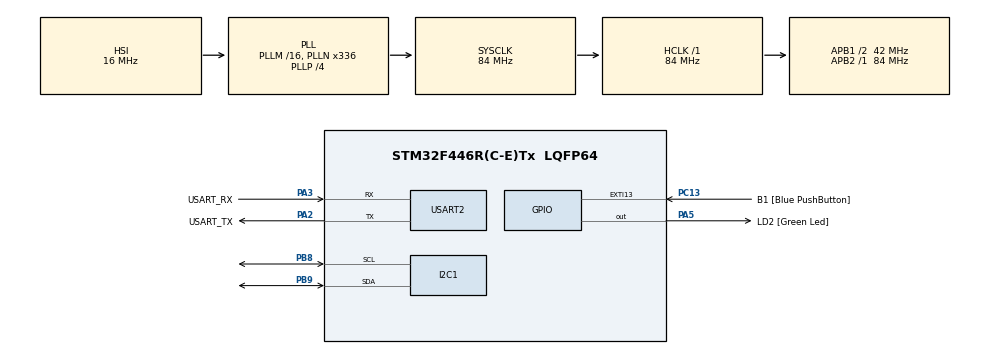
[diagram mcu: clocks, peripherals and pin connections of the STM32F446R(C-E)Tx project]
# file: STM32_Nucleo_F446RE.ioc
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Mcu.Family=STM32F4
Mcu.Name=STM32F446R(C-E)Tx
Mcu.Package=LQFP64
NVIC.PriorityGroup=NVIC_PRIORITYGROUP_0
PA13.GPIO_Label=TMS
PA13.Mode=Serial_Wire
PA13.Signal=SYS_JTMS-SWDIO
PA14.GPIO_Label=TCK
PA14.Mode=Serial_Wire
PA14.Signal=SYS_JTCK-SWCLK
PA2.GPIO_Label=USART_TX
PA2.Mode=Asynchronous
PA2.Signal=USART2_TX
PA3.GPIO_Label=USART_RX
PA3.Mode=Asynchronous
PA3.Signal=USART2_RX
PA5.GPIO_Label=LD2 [Green Led]
PA5.Signal=GPIO_Output
PB3.GPIO_Label=SWO
PB3.Signal=SYS_JTDO-SWO
PB8.Mode=I2C
PB8.Signal=I2C1_SCL
PB9.Mode=I2C
PB9.Signal=I2C1_SDA
PC13.GPIO_Label=B1 [Blue PushButton]
PC13.GPIO_ModeDefaultEXTI=GPIO_MODE_IT_FALLING
PC13.Signal=GPXTI13
PC14-OSC32_IN.Mode=LSE-External-Oscillator
PC14-OSC32_IN.Signal=RCC_OSC32_IN
PC15-OSC32_OUT.Mode=LSE-External-Oscillator
PC15-OSC32_OUT.Signal=RCC_OSC32_OUT
PH0-OSC_IN.Mode=HSE-External-Oscillator
PH0-OSC_IN.Signal=RCC_OSC_IN
PH1-OSC_OUT.Mode=HSE-External-Oscillator
PH1-OSC_OUT.Signal=RCC_OSC_OUT
ProjectManager.HeapSize=0x200
ProjectManager.StackSize=0x400
ProjectManager.TargetToolchain=STM32CubeIDE
RCC.48MHZClocksFreq_Value=84000000
RCC.AHBFreq_Value=84000000
RCC.APB1CLKDivider=RCC_HCLK_DIV2
RCC.APB1Freq_Value=42000000
RCC.APB1TimFreq_Value=84000000
RCC.APB2Freq_Value=84000000
RCC.APB2TimFreq_Value=84000000
RCC.CortexFreq_Value=84000000
RCC.FLatency-AdvancedSettings=FLASH_LATENCY_2
RCC.HCLKFreq_Value=84000000
RCC.HSE_VALUE=8000000
RCC.HSI_VALUE=16000000
RCC.PLLN=336
RCC.PLLP=RCC_PLLP_DIV4
RCC.SYSCLKFreq_VALUE=84000000
RCC.SYSCLKSource=RCC_SYSCLKSOURCE_PLLCLK
RCC.USBFreq_Value=168000000
RCC.VCOOutputFreq_Value=336000000
USART2.VirtualMode=VM_ASYNC
board=NUCLEO-F446RE

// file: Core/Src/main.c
/* USER CODE BEGIN Header */

/******************************************************************************
 * @file    main.c
 * @brief   Main application entry point for the MPU6050 attitude estimator.
 *
 * @details Responsibilities:
 *          - Initialize hardware interfaces
 *          - Calibrate the IMU
 *          - Manage loop timing
 *          - Acquire sensor data
 *          - Execute attitude estimation algorithms
 *          - Output telemetry
 *
 * @author  Sumedh Camarushi
 * @date    June 25, 2026
 * ******************************************************************************
 * @attention
 *
 * Copyright (c) 2026 STMicroelectronics.
 * All rights reserved.
 *
 * This software is licensed under terms that can be found in the LICENSE file
 * in the root directory of this software component.
 * If no LICENSE file comes with this software, it is provided AS-IS.
 ******************************************************************************/

/* USER CODE END Header */

#include "main.h"

/* USER CODE BEGIN Includes */

#include <string.h>
#include <stdio.h>

#include "mpu6050.h"
#include "calibration.h"
#include "attitude.h"

/* USER CODE END Includes */

/* USER CODE BEGIN PD */

// -----------------------------------------------------------------------------
// Timing and filter configuration
// -----------------------------------------------------------------------------

#define MILLISECONDS_PER_SECOND 1000.0f   ///< Number of milliseconds in one second (used for time conversion)
#define LOOP_PERIOD_MS          10U       ///< Loop period in milliseconds (10 ms = 100 Hz)
#define COMPLEMENTARY_ALPHA     0.98f     ///< Complementary filter weighting coefficient (0.98 = 98% gyro, 2% accel)

/* USER CODE END PD */

I2C_HandleTypeDef hi2c1;
UART_HandleTypeDef huart2;

/* USER CODE BEGIN PV */

// -----------------------------------------------------------------------------
// Calibration data
// -----------------------------------------------------------------------------

AccelBias accelBias = {0};     ///< Accelerometer bias values
GyroBias gyroBias   = {0};     ///< Gyroscope bias values

// -----------------------------------------------------------------------------
// Attitude estimates
// -----------------------------------------------------------------------------

Attitude accelAttitude    = {0};     ///< Accelerometer-based attitude estimate
Attitude gyroOnlyAttitude = {0};     ///< Gyroscope-only attitude estimate (for plotting purposes)
Attitude gyroAttitude     = {0};     ///< Corrected attitude estimate used for gyro integration
Attitude filteredAttitude = {0};     ///< Complementary-filtered attitude estimate

// -----------------------------------------------------------------------------
// Loop timing state
// -----------------------------------------------------------------------------

uint32_t lastLoopTime_MS  = 0;       ///< Timestamp of the last loop iteration in milliseconds
uint8_t imuReady          = 0;       ///< IMU initialization state flag

/* USER CODE END PV */

void SystemClock_Config(void);
static void MX_GPIO_Init(void);
static void MX_USART2_UART_Init(void);
static void MX_I2C1_Init(void);

/* USER CODE BEGIN PFP */

// -----------------------------------------------------------------------------
// Helper functions
// -----------------------------------------------------------------------------

/**
 * @brief          Prints one telemetry sample in CSV format.
 *
 * @details        Builds one comma-separated telemetry line and sends it
 *                 over UART.
 *
 *                 Output format:
 *                 time_MS, accel.roll, accel.pitch,
 *                 gyro.roll, gyro.pitch,
 *                 filtered.roll, filtered.pitch
 *
 *                 This format is useful for serial logging, plotting,
 *                 and host-side parsing.
 *
 * @param time_MS  Timestamp in milliseconds.
 * @param accel    Pointer to the accelerometer-only attitude estimate.
 * @param gyro     Pointer to the gyroscope-only attitude estimate.
 * @param filtered Pointer to the complementary-filtered attitude estimate.
 */
void printTelemetryCSV(
  uint32_t time_MS,
  const Attitude *accel,
  const Attitude *gyro,
  const Attitude *filtered);

/**
 * @brief   Performs one-time application initialization.
 *
 * @details Handles sensor startup, calibration, initial attitude estimation,
 *          and loop timing initialization.
 */
void appSetup(void);

/**
 * @brief   Executes one iteration of the main attitude estimation loop.
 *
 * @details Enforces loop timing, reads sensor data, converts measurements,
 *          updates the attitude estimates, and outputs telemetry.
 */
void appLoop(void);

/* USER CODE END PFP */

/* USER CODE BEGIN 0 */

// -----------------------------------------------------------------------------
// Helper functions
// -----------------------------------------------------------------------------

void printTelemetryCSV(
  uint32_t time_MS,
  const Attitude *accel,
  const Attitude *gyro,
  const Attitude *filtered)
{
  // A buffer is temporary memory used to store text before transmission.
  // Here, the buffer holds one complete CSV telemetry line.

  char buffer[128];
  int length = 0;

  // Exit immediately if any input pointer is invalid.

  if ((accel == 0) || (gyro == 0) || (filtered == 0))
  {
    return;
  }

  // snprintf() writes formatted text into the buffer.
  // The format string creates one CSV line ending with \r\n.

  length = snprintf(
    buffer,
    sizeof(buffer),
    "%lu,%.3f,%.3f,%.3f,%.3f,%.3f,%.3f\r\n",
    (unsigned long)time_MS,
    accel->roll,
    accel->pitch,
    gyro->roll,
    gyro->pitch,
    filtered->roll,
    filtered->pitch);

  // Transmit the formatted string only if formatting succeeded.

  if (length > 0)
  {
    uart_print(buffer);
  }
}

void appSetup(void)
{
  // -------------------------------------------------------------------------
  // Hardware initialization
  // -------------------------------------------------------------------------

  // Delay briefly so the sensor can power up before I2C communication begins.

  HAL_Delay(100);

  // -------------------------------------------------------------------------
  // Sensor initialization
  // -------------------------------------------------------------------------

  // Print status messages over UART during startup.

  uart_print("Initializing MPU6050...\r\n");

  // Give the MPU6050 driver access to the configured I2C peripheral.

  MPU6050_SetI2C(&hi2c1);

  // Initialize the sensor and apply its configuration.

  initializeMPU6050();

  // Calibrate the accelerometer while the IMU is stationary.

  uart_print("Calibrating accelerometer...\r\n");
  accelBias = calibrateAccel();

  // Calibrate the gyroscope while the IMU is stationary.

  uart_print("Calibrating gyroscope...\r\n");
  gyroBias = calibrateGyro();

  // -------------------------------------------------------------------------
  // Attitude initialization
  // -------------------------------------------------------------------------

  // Estimate the initial roll and pitch from the calibrated accelerometer.

  if (initializeAttitude(&accelBias, &accelAttitude) != HAL_OK)
  {
    uart_print("Attitude initialization failed.\r\n");
    Error_Handler();
  }

  // Initialize both gyro-based estimates to the same starting attitude.

  gyroOnlyAttitude = accelAttitude;
  gyroAttitude     = accelAttitude;

  // Compute the initial filtered estimate.

  if (complementaryFilter(
    &gyroAttitude,
    &accelAttitude,
    COMPLEMENTARY_ALPHA,
    &filteredAttitude) != HAL_OK)
  {
    uart_print("Complementary filter initialization failed.\r\n");
    Error_Handler();
  }

  uart_print("Calibration complete.\r\n");

  // Store the current tick count for loop timing.

  lastLoopTime_MS = HAL_GetTick();

  // Mark initialization as complete.

  imuReady = 1U;

  uart_print("MPU6050 IMU awake.\r\n\r\n");
}

void appLoop(void)
{
  // -------------------------------------------------------------------------
  // Timing control
  // -------------------------------------------------------------------------

  // Get the current system time in milliseconds.

  uint32_t currentTime_MS = HAL_GetTick();

  // Do nothing until initialization has completed.

  if (imuReady == 0U)
  {
    return;
  }

  // Skip this iteration until the desired loop period has elapsed.

  if (currentTime_MS - lastLoopTime_MS < LOOP_PERIOD_MS)
  {
    return;
  }

  // Convert elapsed time from milliseconds to seconds for gyro integration.

  float dt = (currentTime_MS - lastLoopTime_MS) / MILLISECONDS_PER_SECOND;

  // Save the current timestamp for the next loop iteration.

  lastLoopTime_MS = currentTime_MS;

  // -------------------------------------------------------------------------
  // Sensor acquisition & unit conversion
  // -------------------------------------------------------------------------

  // Store raw sensor readings from the MPU6050.

  AccelData accel = {0};
  GyroData gyro   = {0};

  // Read accelerometer data. Skip this iteration if the read fails.

  if (readRawAccel(&accel) != HAL_OK)
  {
    return;
  }

  // Read gyroscope data. Skip this iteration if the read fails.

  if (readRawGyro(&gyro) != HAL_OK)
  {
    return;
  }

  // Convert raw accelerometer values to g after bias correction.

  float axG = rawAccelToG(accel.x, accelBias.x);
  float ayG = rawAccelToG(accel.y, accelBias.y);
  float azG = rawAccelToG(accel.z, accelBias.z);

  // Convert raw gyroscope values to degrees per second after bias correction.

  float gxDPS = rawGyroToDPS(gyro.x, gyroBias.x);
  float gyDPS = rawGyroToDPS(gyro.y, gyroBias.y);
  float gzDPS = rawGyroToDPS(gyro.z, gyroBias.z);

  // -------------------------------------------------------------------------
  // Attitude estimation
  // -------------------------------------------------------------------------

  // Temporary variables hold the newly updated gyro estimates.

  Attitude updatedGyroOnly  = {0};
  Attitude updatedGyro      = {0};

  // Compute roll and pitch directly from the accelerometer.

  if (calculateAccelAttitude(axG, ayG, azG, &accelAttitude) != HAL_OK)
  {
    return;
  }

  // Update the gyro-only estimate used for comparison and plotting.

  if (updateGyroAttitude(
    &gyroOnlyAttitude,
    gxDPS,
    gyDPS,
    gzDPS,
    dt,
    &updatedGyroOnly) != HAL_OK)
  {
    return;
  }

  // Update the gyro estimate used by the complementary filter.

  if (updateGyroAttitude(
    &gyroAttitude,
    gxDPS,
    gyDPS,
    gzDPS,
    dt,
    &updatedGyro) != HAL_OK)
  {
    return;
  }

  // Save the updated gyro estimates.

  gyroOnlyAttitude = updatedGyroOnly;
  gyroAttitude = updatedGyro;

  // Fuse the gyro and accelerometer estimates.

  if (complementaryFilter(
    &gyroAttitude,
    &accelAttitude,
    COMPLEMENTARY_ALPHA,
    &filteredAttitude) != HAL_OK)
  {
    return;
  }

  // Feed the filtered result back into the gyro estimate to reduce drift.

  gyroAttitude = filteredAttitude;

  // -------------------------------------------------------------------------
  // Telemetry output
  // -------------------------------------------------------------------------

  // Legacy human-readable telemetry format kept here for reference.

  // Multiple telemetry formats are available.
  // Additional debug output can be enabled
  // by uncommenting the sections below.

  // char debugBuffer[96];
  //
  // snprintf(debugBuffer, sizeof(debugBuffer), "AX (g): %.3f AY (g): %.3f AZ (g): %.3f\r\n", axG, ayG, azG);
  // uart_print(debugBuffer);
  //
  // snprintf(debugBuffer, sizeof(debugBuffer), "GX (dps): %.3f GY (dps): %.3f GZ (dps): %.3f\r\n", gxDPS, gyDPS, gzDPS);
  // uart_print(debugBuffer);
  //
  // snprintf(debugBuffer, sizeof(debugBuffer), "Accel Roll: %.3f Gyro Roll: %.3f Filtered Roll: %.3f\r\n",
  //          accelAttitude.roll, gyroAttitude.roll, filteredAttitude.roll);
  // uart_print(debugBuffer);
  //
  // snprintf(debugBuffer, sizeof(debugBuffer), "Accel Pitch: %.3f Gyro Pitch: %.3f Filtered Pitch: %.3f\r\n",
  //          accelAttitude.pitch, gyroAttitude.pitch, filteredAttitude.pitch);
  // uart_print(debugBuffer);

  // Send one compact CSV telemetry line over UART.

  printTelemetryCSV(
    currentTime_MS,
    &accelAttitude,
    &gyroOnlyAttitude,
    &filteredAttitude);
}

/* USER CODE END 0 */

int main(void)
{

  /* MCU Configuration--------------------------------------------------------*/

  /* Reset of all peripherals, Initializes the Flash interface and the Systick. */
  HAL_Init();

  /* Configure the system clock */
  SystemClock_Config();

  /* Initialize all configured peripherals */

  MX_GPIO_Init();
  MX_USART2_UART_Init();
  MX_I2C1_Init();

  /* USER CODE BEGIN 2 */

  appSetup();

  /* USER CODE END 2 */

  /* Infinite loop */
  /* USER CODE BEGIN WHILE */
  while (1)
  {
    appLoop();
    /* USER CODE END WHILE */

  }
}

void SystemClock_Config(void)
{
  RCC_OscInitTypeDef RCC_OscInitStruct = {0};
  RCC_ClkInitTypeDef RCC_ClkInitStruct = {0};

  /** Configure the main internal regulator output voltage
  */
  __HAL_RCC_PWR_CLK_ENABLE();
  __HAL_PWR_VOLTAGESCALING_CONFIG(PWR_REGULATOR_VOLTAGE_SCALE3);

  /** Initializes the RCC Oscillators according to the specified parameters
  * in the RCC_OscInitTypeDef structure.
  */
  RCC_OscInitStruct.OscillatorType = RCC_OSCILLATORTYPE_HSI;
  RCC_OscInitStruct.HSIState = RCC_HSI_ON;
  RCC_OscInitStruct.HSICalibrationValue = RCC_HSICALIBRATION_DEFAULT;
  RCC_OscInitStruct.PLL.PLLState = RCC_PLL_ON;
  RCC_OscInitStruct.PLL.PLLSource = RCC_PLLSOURCE_HSI;
  RCC_OscInitStruct.PLL.PLLM = 16;
  RCC_OscInitStruct.PLL.PLLN = 336;
  RCC_OscInitStruct.PLL.PLLP = RCC_PLLP_DIV4;
  RCC_OscInitStruct.PLL.PLLQ = 2;
  RCC_OscInitStruct.PLL.PLLR = 2;
  if (HAL_RCC_OscConfig(&RCC_OscInitStruct) != HAL_OK)
  {
    Error_Handler();
  }

  /** Initializes the CPU, AHB and APB buses clocks
  */
  RCC_ClkInitStruct.ClockType = RCC_CLOCKTYPE_HCLK|RCC_CLOCKTYPE_SYSCLK
                              |RCC_CLOCKTYPE_PCLK1|RCC_CLOCKTYPE_PCLK2;
  RCC_ClkInitStruct.SYSCLKSource = RCC_SYSCLKSOURCE_PLLCLK;
  RCC_ClkInitStruct.AHBCLKDivider = RCC_SYSCLK_DIV1;
  RCC_ClkInitStruct.APB1CLKDivider = RCC_HCLK_DIV2;
  RCC_ClkInitStruct.APB2CLKDivider = RCC_HCLK_DIV1;

  if (HAL_RCC_ClockConfig(&RCC_ClkInitStruct, FLASH_LATENCY_2) != HAL_OK)
  {
    Error_Handler();
  }
}

static void MX_I2C1_Init(void)
{

  hi2c1.Instance = I2C1;
  hi2c1.Init.ClockSpeed = 100000;
  hi2c1.Init.DutyCycle = I2C_DUTYCYCLE_2;
  hi2c1.Init.OwnAddress1 = 0;
  hi2c1.Init.AddressingMode = I2C_ADDRESSINGMODE_7BIT;
  hi2c1.Init.DualAddressMode = I2C_DUALADDRESS_DISABLE;
  hi2c1.Init.OwnAddress2 = 0;
  hi2c1.Init.GeneralCallMode = I2C_GENERALCALL_DISABLE;
  hi2c1.Init.NoStretchMode = I2C_NOSTRETCH_DISABLE;
  if (HAL_I2C_Init(&hi2c1) != HAL_OK)
  {
    Error_Handler();
  }

}

static void MX_USART2_UART_Init(void)
{

  huart2.Instance = USART2;
  huart2.Init.BaudRate = 115200;
  huart2.Init.WordLength = UART_WORDLENGTH_8B;
  huart2.Init.StopBits = UART_STOPBITS_1;
  huart2.Init.Parity = UART_PARITY_NONE;
  huart2.Init.Mode = UART_MODE_TX_RX;
  huart2.Init.HwFlowCtl = UART_HWCONTROL_NONE;
  huart2.Init.OverSampling = UART_OVERSAMPLING_16;
  if (HAL_UART_Init(&huart2) != HAL_OK)
  {
    Error_Handler();
  }

}

static void MX_GPIO_Init(void)
{
  GPIO_InitTypeDef GPIO_InitStruct = {0};

  /* GPIO Ports Clock Enable */
  __HAL_RCC_GPIOC_CLK_ENABLE();
  __HAL_RCC_GPIOH_CLK_ENABLE();
  __HAL_RCC_GPIOA_CLK_ENABLE();
  __HAL_RCC_GPIOB_CLK_ENABLE();

  /*Configure GPIO pin Output Level */
  HAL_GPIO_WritePin(LD2_GPIO_Port, LD2_Pin, GPIO_PIN_RESET);

  /*Configure GPIO pin : B1_Pin */
  GPIO_InitStruct.Pin = B1_Pin;
  GPIO_InitStruct.Mode = GPIO_MODE_IT_FALLING;
  GPIO_InitStruct.Pull = GPIO_NOPULL;
  HAL_GPIO_Init(B1_GPIO_Port, &GPIO_InitStruct);

  /*Configure GPIO pin : LD2_Pin */
  GPIO_InitStruct.Pin = LD2_Pin;
  GPIO_InitStruct.Mode = GPIO_MODE_OUTPUT_PP;
  GPIO_InitStruct.Pull = GPIO_NOPULL;
  GPIO_InitStruct.Speed = GPIO_SPEED_FREQ_LOW;
  HAL_GPIO_Init(LD2_GPIO_Port, &GPIO_InitStruct);

}

/* USER CODE BEGIN 4 */

void uart_print(const char *msg)
{
  if (msg == 0)
  {
    return;
  }

  HAL_UART_Transmit(&huart2, (uint8_t *)msg, strlen(msg), HAL_MAX_DELAY);
}

/* USER CODE END 4 */

void Error_Handler(void)
{
  __disable_irq();
  while (1)
  {
  }
}
